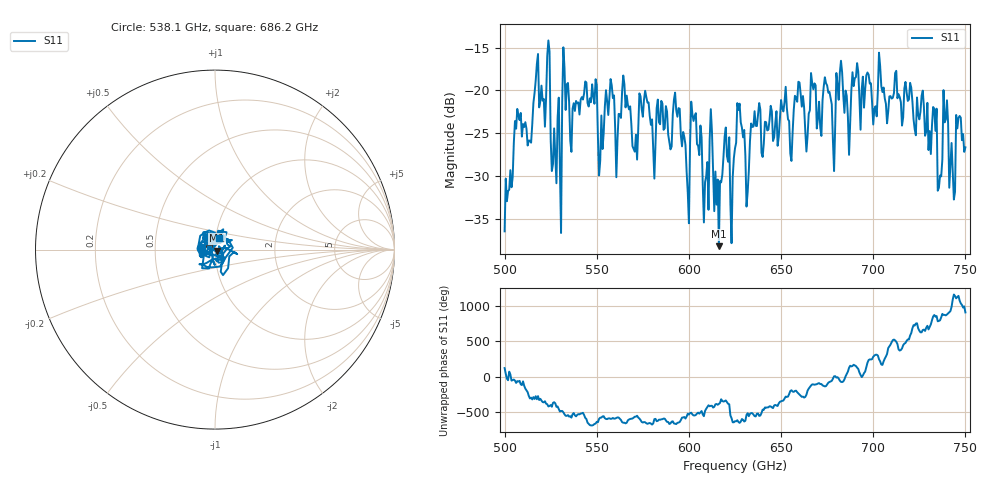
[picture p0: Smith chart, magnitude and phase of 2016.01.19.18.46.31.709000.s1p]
!Created with skrf (http://scikit-rf.org).
# GHz S RI R 50.0
!freq ReS11 ImS11
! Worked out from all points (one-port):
!   401 points, 500 GHz to 750 GHz, reference 50 ohm
!   lowest |S11| = -38.2 dB at 616.2 GHz (marker M1), VSWR 1.02, Z = 51.1 - j0.526 ohm
!   |S11| at or under -10 dB: start of sweep to end of sweep
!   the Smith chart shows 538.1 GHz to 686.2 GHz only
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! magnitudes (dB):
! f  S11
! 500 GHz  -36.5
! 506.2 GHz  -24.5
! 513.8 GHz  -25.9
! 516.9 GHz  -18.8
! 523.8 GHz  -14.2
! 526.9 GHz  -24.4
! 531.2 GHz  -21.3
! 533.1 GHz  -22.3
! 536.9 GHz  -22.1
! 548.8 GHz  -21.6
! 551.9 GHz  -28.2
! 556.2 GHz  -22.9
! 562.5 GHz  -22.8
! 593.8 GHz  -23.1
! 598.8 GHz  -29.5
! 602.5 GHz  -23.6
! 616.2 GHz  -38.2
! 625 GHz  -26.8
! 656.2 GHz  -25.0
! 667.5 GHz  -19.9
! 687.5 GHz  -23.7
! 718.8 GHz  -21.2
! 733.1 GHz  -22.2
! 736.2 GHz  -30.0
! 739.4 GHz  -23.4
! 742.5 GHz  -26.2
! 746.2 GHz  -23.2
! 750 GHz  -26.7
